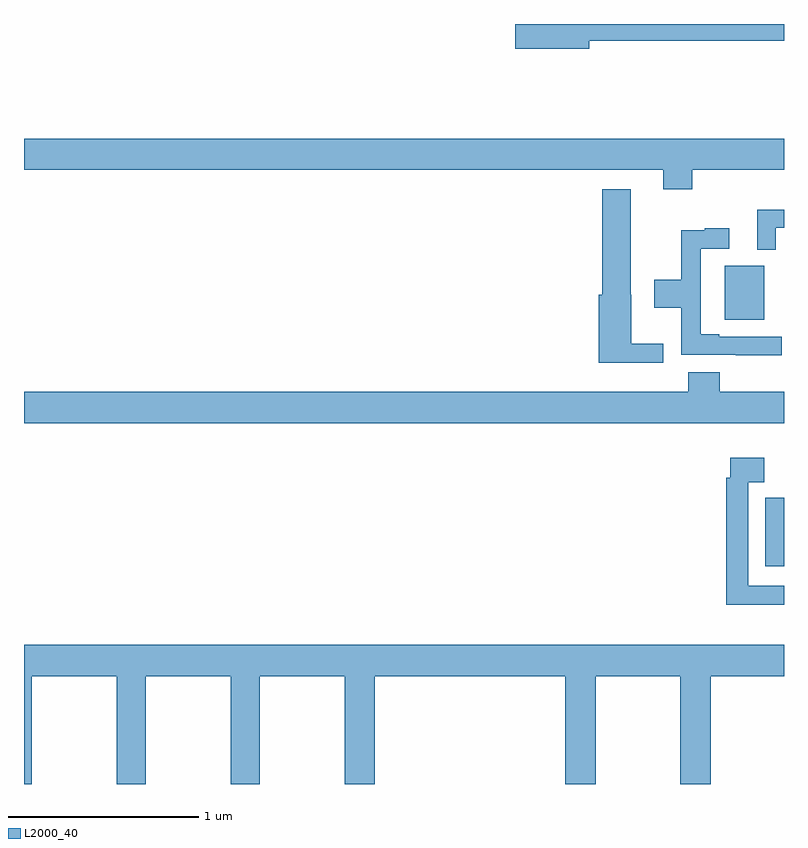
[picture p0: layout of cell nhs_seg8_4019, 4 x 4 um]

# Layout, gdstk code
import gdstk
lib = gdstk.Library(unit=1e-6, precision=1e-09)
def R(c, l, rs):  # rectangles x0, y0, x1, y1
    for r in rs: c.add(gdstk.rectangle(r[:2], r[2:], *l))
def P(c, l, *ps):  # polygons
    for p in ps: c.add(gdstk.Polygon(p, *l))
L2000_40 = (2000, 40)

nhs_seg8_4019 = lib.new_cell('nhs_seg8_4019')
R(nhs_seg8_4019, L2000_40, [(360.902,1149.045,361,1149.407), (360.689,1150.343,360.895,1150.627)])
P(nhs_seg8_4019, L2000_40, [(359.974,1151.812),(361,1151.812),(361,1151.9),(359.586,1151.9),(359.586,1151.77),(359.974,1151.77)],
  [(360.518,1151.132),(361,1151.132),(361,1151.296),(357,1151.296),(357,1151.132),(360.365,1151.132),(360.365,1151.03),(360.518,1151.03)],
  [(360.364,1150.217),(360.196,1150.217),(360.196,1150.476),(360.193,1150.476),(360.193,1151.029),(360.044,1151.029),(360.044,1150.476),(360.026,1150.476),(360.026,1150.118),(360.364,1150.118)],
  [(360.957,1150.827),(361,1150.827),(361,1150.923),(360.86,1150.923),(360.86,1150.712),(360.957,1150.712)],
  [(360.988,1150.254),(360.658,1150.254),(360.658,1150.267),(360.561,1150.267),(360.561,1150.716),(360.712,1150.716),(360.712,1150.825),(360.584,1150.825),(360.584,1150.814),(360.46,1150.814),(360.46,1150.554),(360.318,1150.554),(360.318,1150.406),(360.46,1150.406),(360.46,1150.158),(360.745,1150.158),(360.745,1150.157),(360.988,1150.157)],
  [(361,1149.964),(360.662,1149.964),(360.662,1150.066),(360.497,1150.066),(360.497,1149.964),(357,1149.964),(357,1149.8),(361,1149.8)],
  [(361,1148.944),(360.813,1148.944),(360.813,1149.488),(360.896,1149.488),(360.896,1149.616),(360.717,1149.616),(360.717,1149.512),(360.697,1149.512),(360.697,1148.843),(361,1148.843)],
  [(357.042,1148.468),(357.487,1148.468),(357.487,1147.9),(357.642,1147.9),(357.642,1148.468),(358.087,1148.468),(358.087,1147.9),(358.242,1147.9),(358.242,1148.468),(358.687,1148.468),(358.687,1147.9),(358.847,1147.9),(358.847,1148.468),(359.849,1148.468),(359.849,1147.9),(360.009,1147.9),(360.009,1148.468),(360.454,1148.468),(360.454,1147.9),(360.614,1147.9),(360.614,1148.468),(361,1148.468),(361,1148.632),(357,1148.632),(357,1147.9),(357.042,1147.9)])

lib.write_gds('nhs_seg8_4019.gds')
